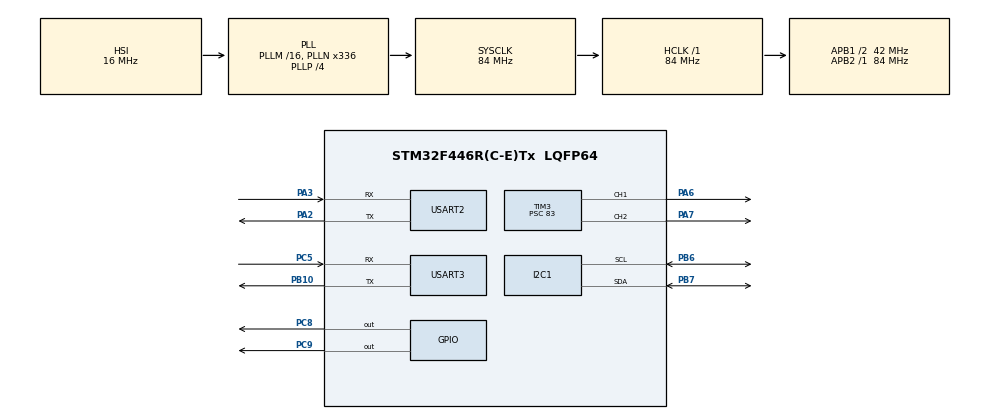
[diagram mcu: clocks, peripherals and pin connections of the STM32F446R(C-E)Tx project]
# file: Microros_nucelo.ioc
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Dma.I2C1_RX.3.Direction=DMA_PERIPH_TO_MEMORY
Dma.I2C1_RX.3.FIFOMode=DMA_FIFOMODE_DISABLE
Dma.I2C1_RX.3.Instance=DMA1_Stream0
Dma.I2C1_RX.3.MemDataAlignment=DMA_MDATAALIGN_BYTE
Dma.I2C1_RX.3.MemInc=DMA_MINC_ENABLE
Dma.I2C1_RX.3.Mode=DMA_NORMAL
Dma.I2C1_RX.3.PeriphDataAlignment=DMA_PDATAALIGN_BYTE
Dma.I2C1_RX.3.PeriphInc=DMA_PINC_DISABLE
Dma.I2C1_RX.3.Priority=DMA_PRIORITY_LOW
Dma.I2C1_TX.2.Direction=DMA_MEMORY_TO_PERIPH
Dma.I2C1_TX.2.FIFOMode=DMA_FIFOMODE_DISABLE
Dma.I2C1_TX.2.Instance=DMA1_Stream7
Dma.I2C1_TX.2.MemDataAlignment=DMA_MDATAALIGN_BYTE
Dma.I2C1_TX.2.MemInc=DMA_MINC_ENABLE
Dma.I2C1_TX.2.Mode=DMA_NORMAL
Dma.I2C1_TX.2.PeriphDataAlignment=DMA_PDATAALIGN_BYTE
Dma.I2C1_TX.2.PeriphInc=DMA_PINC_DISABLE
Dma.I2C1_TX.2.Priority=DMA_PRIORITY_LOW
Dma.Request0=USART2_RX
Dma.Request1=USART2_TX
Dma.Request2=I2C1_TX
Dma.Request3=I2C1_RX
Dma.USART2_RX.0.Direction=DMA_PERIPH_TO_MEMORY
Dma.USART2_RX.0.FIFOMode=DMA_FIFOMODE_DISABLE
Dma.USART2_RX.0.Instance=DMA1_Stream5
Dma.USART2_RX.0.MemDataAlignment=DMA_MDATAALIGN_BYTE
Dma.USART2_RX.0.MemInc=DMA_MINC_ENABLE
Dma.USART2_RX.0.Mode=DMA_CIRCULAR
Dma.USART2_RX.0.PeriphDataAlignment=DMA_PDATAALIGN_BYTE
Dma.USART2_RX.0.PeriphInc=DMA_PINC_DISABLE
Dma.USART2_RX.0.Priority=DMA_PRIORITY_VERY_HIGH
Dma.USART2_TX.1.Direction=DMA_MEMORY_TO_PERIPH
Dma.USART2_TX.1.FIFOMode=DMA_FIFOMODE_DISABLE
Dma.USART2_TX.1.Instance=DMA1_Stream6
Dma.USART2_TX.1.MemDataAlignment=DMA_MDATAALIGN_BYTE
Dma.USART2_TX.1.MemInc=DMA_MINC_ENABLE
Dma.USART2_TX.1.Mode=DMA_NORMAL
Dma.USART2_TX.1.PeriphDataAlignment=DMA_PDATAALIGN_BYTE
Dma.USART2_TX.1.PeriphInc=DMA_PINC_DISABLE
Dma.USART2_TX.1.Priority=DMA_PRIORITY_VERY_HIGH
FREERTOS.Tasks01=defaultTask,24,3000,StartDefaultTask,Default,NULL,Dynamic,NULL,NULL
Mcu.Family=STM32F4
Mcu.Name=STM32F446R(C-E)Tx
Mcu.Package=LQFP64
NVIC.DMA1_Stream0_IRQn=true\:5\:0\:false\:false\:true\:true\:false\:true\:true
NVIC.DMA1_Stream5_IRQn=true\:5\:0\:false\:false\:true\:true\:false\:true\:true
NVIC.DMA1_Stream6_IRQn=true\:5\:0\:false\:false\:true\:true\:false\:true\:true
NVIC.DMA1_Stream7_IRQn=true\:5\:0\:false\:false\:true\:true\:false\:true\:true
NVIC.PriorityGroup=NVIC_PRIORITYGROUP_4
NVIC.USART2_IRQn=true\:5\:0\:false\:false\:true\:true\:true\:true\:true
PA13.Mode=Serial_Wire
PA13.Signal=SYS_JTMS-SWDIO
PA14.Mode=Serial_Wire
PA14.Signal=SYS_JTCK-SWCLK
PA2.Mode=Asynchronous
PA2.Signal=USART2_TX
PA3.Mode=Asynchronous
PA3.Signal=USART2_RX
PA6.Signal=S_TIM3_CH1
PA7.Signal=S_TIM3_CH2
PB10.Mode=Asynchronous
PB10.Signal=USART3_TX
PB6.Mode=I2C
PB6.Signal=I2C1_SCL
PB7.Mode=I2C
PB7.Signal=I2C1_SDA
PC14-OSC32_IN.Mode=LSE-External-Oscillator
PC14-OSC32_IN.Signal=RCC_OSC32_IN
PC15-OSC32_OUT.Mode=LSE-External-Oscillator
PC15-OSC32_OUT.Signal=RCC_OSC32_OUT
PC5.Mode=Asynchronous
PC5.Signal=USART3_RX
PC8.Signal=GPIO_Output
PC9.Signal=GPIO_Output
PH0-OSC_IN.Mode=HSE-External-Oscillator
PH0-OSC_IN.Signal=RCC_OSC_IN
PH1-OSC_OUT.Mode=HSE-External-Oscillator
PH1-OSC_OUT.Signal=RCC_OSC_OUT
ProjectManager.HeapSize=0x200
ProjectManager.StackSize=0x400
ProjectManager.TargetToolchain=STM32CubeIDE
RCC.48MHZClocksFreq_Value=84000000
RCC.AHBFreq_Value=84000000
RCC.APB1CLKDivider=RCC_HCLK_DIV2
RCC.APB1Freq_Value=42000000
RCC.APB1TimFreq_Value=84000000
RCC.APB2Freq_Value=84000000
RCC.APB2TimFreq_Value=84000000
RCC.CortexFreq_Value=84000000
RCC.FLatency-AdvancedSettings=FLASH_LATENCY_2
RCC.HCLKFreq_Value=84000000
RCC.HSE_VALUE=8000000
RCC.HSI_VALUE=16000000
RCC.PLLN=336
RCC.PLLP=RCC_PLLP_DIV4
RCC.SYSCLKFreq_VALUE=84000000
RCC.SYSCLKSource=RCC_SYSCLKSOURCE_PLLCLK
RCC.USBFreq_Value=168000000
RCC.VCOOutputFreq_Value=336000000
SH.S_TIM3_CH1.0=TIM3_CH1,PWM Generation1 CH1
SH.S_TIM3_CH2.0=TIM3_CH2,PWM Generation2 CH2
TIM3.Channel-PWM\ Generation1\ CH1=TIM_CHANNEL_1
TIM3.Channel-PWM\ Generation2\ CH2=TIM_CHANNEL_2
TIM3.Period=99
TIM3.Prescaler=83
USART2.VirtualMode=VM_ASYNC
USART3.VirtualMode=VM_ASYNC
VP_FREERTOS_VS_CMSIS_V2.Mode=CMSIS_V2
VP_TIM3_VS_ClockSourceINT.Mode=Internal
board=NUCLEO-F446RE

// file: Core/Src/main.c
/* USER CODE BEGIN Header */
/**
  ******************************************************************************
  * @file           : main.c
  * @brief          : Main program body
  ******************************************************************************
  * @attention
  *
  * Copyright (c) 2025 STMicroelectronics.
  * All rights reserved.
  *
  * This software is licensed under terms that can be found in the LICENSE file
  * in the root directory of this software component.
  * If no LICENSE file comes with this software, it is provided AS-IS.
  *
  ******************************************************************************
  */
/* USER CODE END Header */
#include "main.h"
#include "cmsis_os.h"

/* USER CODE BEGIN Includes */
#include <rcl/rcl.h>
#include <rcl/error_handling.h>
#include <rclc/rclc.h>
#include <rclc/executor.h>
#include <uxr/client/transport.h>
#include <rmw_microxrcedds_c/config.h>
#include <rmw_microros/rmw_microros.h>

#include <std_msgs/msg/int32.h>
#include <geometry_msgs/msg/twist.h>
#include <stdio.h>
#include <string.h>
#include "accel.h"
/* USER CODE END Includes */

I2C_HandleTypeDef hi2c1;
DMA_HandleTypeDef hdma_i2c1_tx;
DMA_HandleTypeDef hdma_i2c1_rx;

TIM_HandleTypeDef htim3;

UART_HandleTypeDef huart2;
UART_HandleTypeDef huart3;
DMA_HandleTypeDef hdma_usart2_rx;
DMA_HandleTypeDef hdma_usart2_tx;

/* Definitions for defaultTask */
osThreadId_t defaultTaskHandle;
const osThreadAttr_t defaultTask_attributes = {
  .name = "defaultTask",
  .stack_size = 3000 * 4,
  .priority = (osPriority_t) osPriorityNormal,
};
/* USER CODE BEGIN PV */
double LeftWheelVelocity;
double RightWheelVelocity;

double LeftMotorSpeed;
double RightMotorSpeed;

const double Length = 0.36;    //distance between wheel and center of bot
const double WheelRadius = 0.12732;
/* USER CODE END PV */

void SystemClock_Config(void);
static void MX_GPIO_Init(void);
static void MX_DMA_Init(void);
static void MX_USART2_UART_Init(void);
static void MX_TIM3_Init(void);
static void MX_I2C1_Init(void);
void MX_USART3_UART_Init(void);
void StartDefaultTask(void *argument);

/* USER CODE BEGIN 0 */
void subscription_cmd_vel_callback(const void * msgin)
{
	geometry_msgs__msg__Twist * msg = (geometry_msgs__msg__Twist *)msgin;

	LeftWheelVelocity = msg->linear.x - msg->angular.z*Length;
		RightWheelVelocity = msg->linear.x + msg->angular.z*Length;

//		LeftMotorSpeed = (int)(LeftWheelVelocity/WheelRadius) * 60/6.2831;            //w of motor in rpm
//		RightMotorSpeed = (int)(RightWheelVelocity/WheelRadius) * 60/6.2831;
		LeftMotorSpeed = (int)((LeftWheelVelocity) * 1000);            //w of motor in rpm
		RightMotorSpeed = (int)((RightWheelVelocity) * 1000);

		if (LeftMotorSpeed>=0 && LeftMotorSpeed<=1000 && RightMotorSpeed>=0 && RightMotorSpeed<=1000)	//front
		{
	 		TIM3->CCR1 = LeftMotorSpeed;
			TIM3->CCR2 = RightMotorSpeed;
			HAL_GPIO_WritePin(GPIOC, GPIO_PIN_9, 1);
			HAL_GPIO_WritePin(GPIOC, GPIO_PIN_8, 0);

		}
		else if (LeftMotorSpeed<=0 && LeftMotorSpeed>=-1000 && RightMotorSpeed<=0 && RightMotorSpeed>=-1000)	//back
		{

			TIM3->CCR1 = -LeftMotorSpeed;
			TIM3->CCR2 = -RightMotorSpeed;
			HAL_GPIO_WritePin(GPIOC, GPIO_PIN_9, 0);
			HAL_GPIO_WritePin(GPIOC, GPIO_PIN_8, 1);
		}
		else if (LeftMotorSpeed<=0 && LeftMotorSpeed>=-1000 && RightMotorSpeed>=0 && RightMotorSpeed<=1000)		//left
		{
			TIM3->CCR1 = -LeftMotorSpeed;
			TIM3->CCR2 = RightMotorSpeed;
			HAL_GPIO_WritePin(GPIOC, GPIO_PIN_9, 0);
			HAL_GPIO_WritePin(GPIOC, GPIO_PIN_8, 0);
		}
		else if (LeftMotorSpeed>=0 && LeftMotorSpeed<=1000 && RightMotorSpeed<=0 && RightMotorSpeed>=-1000)		//right
		{
			TIM3->CCR1 = LeftMotorSpeed;
			TIM3->CCR2 = -RightMotorSpeed;
			HAL_GPIO_WritePin(GPIOC, GPIO_PIN_9, 1);
			HAL_GPIO_WritePin(GPIOC, GPIO_PIN_8, 1);
		}
		else
		{
			TIM3->CCR1 = 0;
			TIM3->CCR2 = 0;
			HAL_GPIO_WritePin(GPIOD, GPIO_PIN_9, 0);
			HAL_GPIO_WritePin(GPIOD, GPIO_PIN_8, 0);

		}

}
/* USER CODE END 0 */

int main(void)
{

  /* MCU Configuration--------------------------------------------------------*/

  /* Reset of all peripherals, Initializes the Flash interface and the Systick. */
  HAL_Init();

  /* Configure the system clock */
  SystemClock_Config();

  /* Initialize all configured peripherals */
  MX_GPIO_Init();
  MX_DMA_Init();
  MX_USART2_UART_Init();
  MX_TIM3_Init();
  MX_I2C1_Init();
  MX_USART3_UART_Init();
  /* USER CODE BEGIN 2 */
  HAL_TIM_PWM_Start(&htim3,TIM_CHANNEL_1);
  HAL_TIM_PWM_Start(&htim3,TIM_CHANNEL_2);
  BNO055_Init_I2C(&hi2c1);
  /* USER CODE END 2 */

  /* Init scheduler */
  osKernelInitialize();

  /* Create the thread(s) */
  /* creation of defaultTask */
  defaultTaskHandle = osThreadNew(StartDefaultTask, NULL, &defaultTask_attributes);

  /* Start scheduler */
  osKernelStart();

  /* We should never get here as control is now taken by the scheduler */

  /* Infinite loop */
  while (1)
  {

  }
}

void SystemClock_Config(void)
{
  RCC_OscInitTypeDef RCC_OscInitStruct = {0};
  RCC_ClkInitTypeDef RCC_ClkInitStruct = {0};

  /** Configure the main internal regulator output voltage
  */
  __HAL_RCC_PWR_CLK_ENABLE();
  __HAL_PWR_VOLTAGESCALING_CONFIG(PWR_REGULATOR_VOLTAGE_SCALE3);

  /** Initializes the RCC Oscillators according to the specified parameters
  * in the RCC_OscInitTypeDef structure.
  */
  RCC_OscInitStruct.OscillatorType = RCC_OSCILLATORTYPE_HSI;
  RCC_OscInitStruct.HSIState = RCC_HSI_ON;
  RCC_OscInitStruct.HSICalibrationValue = RCC_HSICALIBRATION_DEFAULT;
  RCC_OscInitStruct.PLL.PLLState = RCC_PLL_ON;
  RCC_OscInitStruct.PLL.PLLSource = RCC_PLLSOURCE_HSI;
  RCC_OscInitStruct.PLL.PLLM = 16;
  RCC_OscInitStruct.PLL.PLLN = 336;
  RCC_OscInitStruct.PLL.PLLP = RCC_PLLP_DIV4;
  RCC_OscInitStruct.PLL.PLLQ = 2;
  RCC_OscInitStruct.PLL.PLLR = 2;
  if (HAL_RCC_OscConfig(&RCC_OscInitStruct) != HAL_OK)
  {
    Error_Handler();
  }

  /** Initializes the CPU, AHB and APB buses clocks
  */
  RCC_ClkInitStruct.ClockType = RCC_CLOCKTYPE_HCLK|RCC_CLOCKTYPE_SYSCLK
                              |RCC_CLOCKTYPE_PCLK1|RCC_CLOCKTYPE_PCLK2;
  RCC_ClkInitStruct.SYSCLKSource = RCC_SYSCLKSOURCE_PLLCLK;
  RCC_ClkInitStruct.AHBCLKDivider = RCC_SYSCLK_DIV1;
  RCC_ClkInitStruct.APB1CLKDivider = RCC_HCLK_DIV2;
  RCC_ClkInitStruct.APB2CLKDivider = RCC_HCLK_DIV1;

  if (HAL_RCC_ClockConfig(&RCC_ClkInitStruct, FLASH_LATENCY_2) != HAL_OK)
  {
    Error_Handler();
  }
}

static void MX_I2C1_Init(void)
{

  hi2c1.Instance = I2C1;
  hi2c1.Init.ClockSpeed = 100000;
  hi2c1.Init.DutyCycle = I2C_DUTYCYCLE_2;
  hi2c1.Init.OwnAddress1 = 0;
  hi2c1.Init.AddressingMode = I2C_ADDRESSINGMODE_7BIT;
  hi2c1.Init.DualAddressMode = I2C_DUALADDRESS_DISABLE;
  hi2c1.Init.OwnAddress2 = 0;
  hi2c1.Init.GeneralCallMode = I2C_GENERALCALL_DISABLE;
  hi2c1.Init.NoStretchMode = I2C_NOSTRETCH_DISABLE;
  if (HAL_I2C_Init(&hi2c1) != HAL_OK)
  {
    Error_Handler();
  }

}

static void MX_TIM3_Init(void)
{

  TIM_ClockConfigTypeDef sClockSourceConfig = {0};
  TIM_MasterConfigTypeDef sMasterConfig = {0};
  TIM_OC_InitTypeDef sConfigOC = {0};

  htim3.Instance = TIM3;
  htim3.Init.Prescaler = 83;
  htim3.Init.CounterMode = TIM_COUNTERMODE_UP;
  htim3.Init.Period = 99;
  htim3.Init.ClockDivision = TIM_CLOCKDIVISION_DIV1;
  htim3.Init.AutoReloadPreload = TIM_AUTORELOAD_PRELOAD_DISABLE;
  if (HAL_TIM_Base_Init(&htim3) != HAL_OK)
  {
    Error_Handler();
  }
  sClockSourceConfig.ClockSource = TIM_CLOCKSOURCE_INTERNAL;
  if (HAL_TIM_ConfigClockSource(&htim3, &sClockSourceConfig) != HAL_OK)
  {
    Error_Handler();
  }
  if (HAL_TIM_PWM_Init(&htim3) != HAL_OK)
  {
    Error_Handler();
  }
  sMasterConfig.MasterOutputTrigger = TIM_TRGO_RESET;
  sMasterConfig.MasterSlaveMode = TIM_MASTERSLAVEMODE_DISABLE;
  if (HAL_TIMEx_MasterConfigSynchronization(&htim3, &sMasterConfig) != HAL_OK)
  {
    Error_Handler();
  }
  sConfigOC.OCMode = TIM_OCMODE_PWM1;
  sConfigOC.Pulse = 0;
  sConfigOC.OCPolarity = TIM_OCPOLARITY_HIGH;
  sConfigOC.OCFastMode = TIM_OCFAST_DISABLE;
  if (HAL_TIM_PWM_ConfigChannel(&htim3, &sConfigOC, TIM_CHANNEL_1) != HAL_OK)
  {
    Error_Handler();
  }
  if (HAL_TIM_PWM_ConfigChannel(&htim3, &sConfigOC, TIM_CHANNEL_2) != HAL_OK)
  {
    Error_Handler();
  }
  HAL_TIM_MspPostInit(&htim3);

}

static void MX_USART2_UART_Init(void)
{

  huart2.Instance = USART2;
  huart2.Init.BaudRate = 115200;
  huart2.Init.WordLength = UART_WORDLENGTH_8B;
  huart2.Init.StopBits = UART_STOPBITS_1;
  huart2.Init.Parity = UART_PARITY_NONE;
  huart2.Init.Mode = UART_MODE_TX_RX;
  huart2.Init.HwFlowCtl = UART_HWCONTROL_NONE;
  huart2.Init.OverSampling = UART_OVERSAMPLING_16;
  if (HAL_UART_Init(&huart2) != HAL_OK)
  {
    Error_Handler();
  }

}

 void MX_USART3_UART_Init(void)
{

  huart3.Instance = USART3;
  huart3.Init.BaudRate = 115200;
  huart3.Init.WordLength = UART_WORDLENGTH_8B;
  huart3.Init.StopBits = UART_STOPBITS_1;
  huart3.Init.Parity = UART_PARITY_NONE;
  huart3.Init.Mode = UART_MODE_TX_RX;
  huart3.Init.HwFlowCtl = UART_HWCONTROL_NONE;
  huart3.Init.OverSampling = UART_OVERSAMPLING_16;
  if (HAL_UART_Init(&huart3) != HAL_OK)
  {
    Error_Handler();
  }

}

static void MX_DMA_Init(void)
{

  /* DMA controller clock enable */
  __HAL_RCC_DMA1_CLK_ENABLE();

  /* DMA interrupt init */
  /* DMA1_Stream0_IRQn interrupt configuration */
  HAL_NVIC_SetPriority(DMA1_Stream0_IRQn, 5, 0);
  HAL_NVIC_EnableIRQ(DMA1_Stream0_IRQn);
  /* DMA1_Stream5_IRQn interrupt configuration */
  HAL_NVIC_SetPriority(DMA1_Stream5_IRQn, 5, 0);
  HAL_NVIC_EnableIRQ(DMA1_Stream5_IRQn);
  /* DMA1_Stream6_IRQn interrupt configuration */
  HAL_NVIC_SetPriority(DMA1_Stream6_IRQn, 5, 0);
  HAL_NVIC_EnableIRQ(DMA1_Stream6_IRQn);
  /* DMA1_Stream7_IRQn interrupt configuration */
  HAL_NVIC_SetPriority(DMA1_Stream7_IRQn, 5, 0);
  HAL_NVIC_EnableIRQ(DMA1_Stream7_IRQn);

}

static void MX_GPIO_Init(void)
{
  GPIO_InitTypeDef GPIO_InitStruct = {0};

  /* GPIO Ports Clock Enable */
  __HAL_RCC_GPIOC_CLK_ENABLE();
  __HAL_RCC_GPIOH_CLK_ENABLE();
  __HAL_RCC_GPIOA_CLK_ENABLE();
  __HAL_RCC_GPIOB_CLK_ENABLE();

  /*Configure GPIO pin Output Level */
  HAL_GPIO_WritePin(GPIOC, GPIO_PIN_8|GPIO_PIN_9, GPIO_PIN_RESET);

  /*Configure GPIO pins : PC8 PC9 */
  GPIO_InitStruct.Pin = GPIO_PIN_8|GPIO_PIN_9;
  GPIO_InitStruct.Mode = GPIO_MODE_OUTPUT_PP;
  GPIO_InitStruct.Pull = GPIO_NOPULL;
  GPIO_InitStruct.Speed = GPIO_SPEED_FREQ_LOW;
  HAL_GPIO_Init(GPIOC, &GPIO_InitStruct);

}

/* USER CODE BEGIN 4 */
bool cubemx_transport_open(struct uxrCustomTransport * transport);
bool cubemx_transport_close(struct uxrCustomTransport * transport);
size_t cubemx_transport_write(struct uxrCustomTransport* transport, const uint8_t * buf, size_t len, uint8_t * err);
size_t cubemx_transport_read(struct uxrCustomTransport* transport, uint8_t* buf, size_t len, int timeout, uint8_t* err);

void * microros_allocate(size_t size, void * state);
void microros_deallocate(void * pointer, void * state);
void * microros_reallocate(void * pointer, size_t size, void * state);
void * microros_zero_allocate(size_t number_of_elements, size_t size_of_element, void * state);
/* USER CODE END 4 */

void StartDefaultTask(void *argument)
{
  /* USER CODE BEGIN 5 */
		uint8_t		imu_readings[IMU_NUMBER_OF_BYTES];
		int16_t 	accel_data[3];
		float		acc_x, acc_y, acc_z;
		uint8_t		gyro_readings[18];
		int16_t 	gyro_data[3];
		float		gyro_x, gyro_y, gyro_z;
		   // micro-ROS configuration

		   rmw_uros_set_custom_transport(
		     true,
		     (void *) &huart2,
		     cubemx_transport_open,
		     cubemx_transport_close,
		     cubemx_transport_write,
		     cubemx_transport_read);

		   rcl_allocator_t freeRTOS_allocator = rcutils_get_zero_initialized_allocator();
		   freeRTOS_allocator.allocate = microros_allocate;
		   freeRTOS_allocator.deallocate = microros_deallocate;
		   freeRTOS_allocator.reallocate = microros_reallocate;
		   freeRTOS_allocator.zero_allocate =  microros_zero_allocate;

		   if (!rcutils_set_default_allocator(&freeRTOS_allocator)) {
		       printf("Error on default allocators (line %d)\n", __LINE__);
		   }

		   // micro-ROS app

		   rcl_publisher_t publisher;
		   rcl_subscription_t subscriber_cmd_vel;
		   geometry_msgs__msg__Twist imu;
		   rcl_publisher_t imu_pub;
		   geometry_msgs__msg__Twist sub_cmd_vel_msg;
		   std_msgs__msg__Int32 msg;
		   rclc_support_t support;
		   rcl_allocator_t allocator;
		   rcl_node_t node;

		   allocator = rcl_get_default_allocator();

		   //create init_options
		   rclc_support_init(&support, 0, NULL, &allocator);

		   // create node
		   rclc_node_init_default(&node, "cubemx_node", "", &support);

		   // create publisher
		   rclc_publisher_init_default(
		     &publisher,
		     &node,
		     ROSIDL_GET_MSG_TYPE_SUPPORT(std_msgs, msg, Int32),
		     "cubemx_publisher");

		   rclc_publisher_init_default(
		   			&imu_pub,
		   	  		&node,
		   	  		ROSIDL_GET_MSG_TYPE_SUPPORT(geometry_msgs, msg, Twist),
		   	  		"imu_raw");
		   rclc_subscription_init_default(
		   	  	     &subscriber_cmd_vel,
		   	  	     &node,
		   	  	     ROSIDL_GET_MSG_TYPE_SUPPORT(geometry_msgs, msg, Twist),
		   	  	     "cmd_vel");

		   rclc_executor_t executor = rclc_executor_get_zero_initialized_executor();
		   	  	rclc_executor_init(&executor, &support.context, 2, &allocator);
		   	  	rclc_executor_add_subscription(&executor, &subscriber_cmd_vel, &sub_cmd_vel_msg, &subscription_cmd_vel_callback, ON_NEW_DATA);

		   msg.data = 0;

		   for(;;)
		   {
		GetAccelData(&hi2c1, (uint8_t*) imu_readings);
		accel_data[0] = (((int16_t) ((uint8_t*) (imu_readings))[1] << 8)
				| ((uint8_t*) (imu_readings))[0]); // Turn the MSB and LSB into a signed 16-bit value
		accel_data[1] = (((int16_t) ((uint8_t*) (imu_readings))[3] << 8)
				| ((uint8_t*) (imu_readings))[2]);
		accel_data[2] = (((int16_t) ((uint8_t*) (imu_readings))[5] << 8)
				| ((uint8_t*) (imu_readings))[4]);
		acc_x = ((float) (accel_data[0])) / 100.0f; //m/s2
		acc_y = ((float) (accel_data[1])) / 100.0f;
		acc_z = ((float) (accel_data[2])) / 100.0f;
		GetGyroData(&hi2c1, (uint8_t*) gyro_readings);
		gyro_data[0] = (((int16_t) ((uint8_t*) (imu_readings))[1] << 8)
				| ((uint8_t*) (imu_readings))[0]); // Turn the MSB and LSB into a signed 16-bit value
		gyro_data[1] = (((int16_t) ((uint8_t*) (imu_readings))[3] << 8)
				| ((uint8_t*) (imu_readings))[2]);
		gyro_data[2] = (((int16_t) ((uint8_t*) (imu_readings))[5] << 8)
				| ((uint8_t*) (imu_readings))[4]);
		gyro_x = ((float) (gyro_data[0])) / 900.0f; //m/s2
		gyro_y = ((float) (gyro_data[1])) / 900.0f;
		gyro_z = ((float) (gyro_data[2])) / 900.0f;
		imu.linear.x = acc_x;
		imu.linear.y = acc_y;
		imu.linear.z = acc_z;
		imu.angular.x=gyro_x;
		imu.angular.y=gyro_y;
		imu.angular.z=gyro_z;
		     rcl_ret_t ret = rcl_publish(&publisher, &msg, NULL);
		     rcl_ret_t ret3 = rcl_publish(&imu_pub, &imu, NULL);
		     rclc_executor_spin_some(&executor, 1000);
		     if ((ret|ret3) != RCL_RET_OK)
		     {
		       printf("Error publishing (line %d)\n", __LINE__);
		     }

		     msg.data++;
		     osDelay(10);
		   }
  /* USER CODE END 5 */
}

void Error_Handler(void)
{
  __disable_irq();
  while (1)
  {
  }
}
